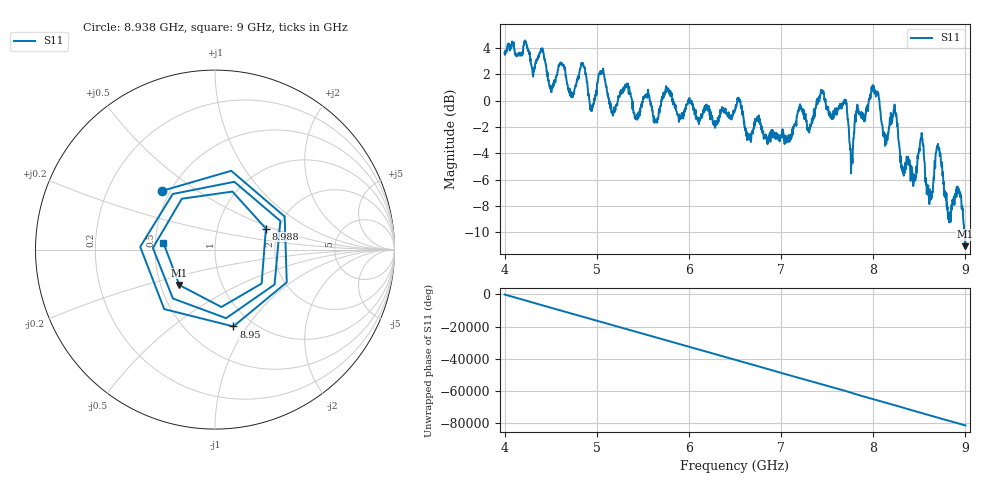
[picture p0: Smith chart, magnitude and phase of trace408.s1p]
! Created with skrf 1.8.0 (http://scikit-rf.org).
# Hz S RI R 50.0
!freq ReS11 ImS11
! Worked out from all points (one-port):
!   1601 points, 4 GHz to 9 GHz, reference 50 ohm
!   lowest |S11| = -11.1 dB at 8.997 GHz (marker M1), VSWR 1.78, Z = 31.2 - j13.4 ohm
!   |S11| at or under -10 dB: 8.98674 GHz to 8.989964 GHz (3.224 MHz wide, 0.0359 % of centre); 8.994386 GHz to end of sweep
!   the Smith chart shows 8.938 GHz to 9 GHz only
!   S11 on the Smith chart (normalised r, x): 8.938 GHz: 0.45, +0.37; 8.95 GHz: 0.82, -0.87; 8.988 GHz: 1.72, +0.44; 9 GHz: 0.55, +0.05
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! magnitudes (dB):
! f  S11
! 4 GHz  3.6
! 4.403 GHz  3.9
! 4.509 GHz  0.7
! 4.625 GHz  2.7
! 4.725 GHz  0.3
! 4.853 GHz  2.8
! 4.944 GHz  -0.4
! 5.047 GHz  2.0
! 5.169 GHz  -0.9
! 5.25 GHz  0.3
! 5.875 GHz  -1.0
! 6.5 GHz  -0.7
! 7.125 GHz  -2.6
! 7.444 GHz  0.8
! 7.691 GHz  -0.1
! 7.75 GHz  -3.7
! 8 GHz  1.2
! 8.375 GHz  -4.7
! 8.45 GHz  -6.1
! 8.525 GHz  -2.5
! 8.625 GHz  -7.5
! 8.706 GHz  -3.6
! 8.822 GHz  -8.7
! 8.938 GHz  -7.1
! 8.95 GHz  -7.1
! 8.988 GHz  -10.3
! 8.997 GHz  -11.1
! 9 GHz  -10.8
